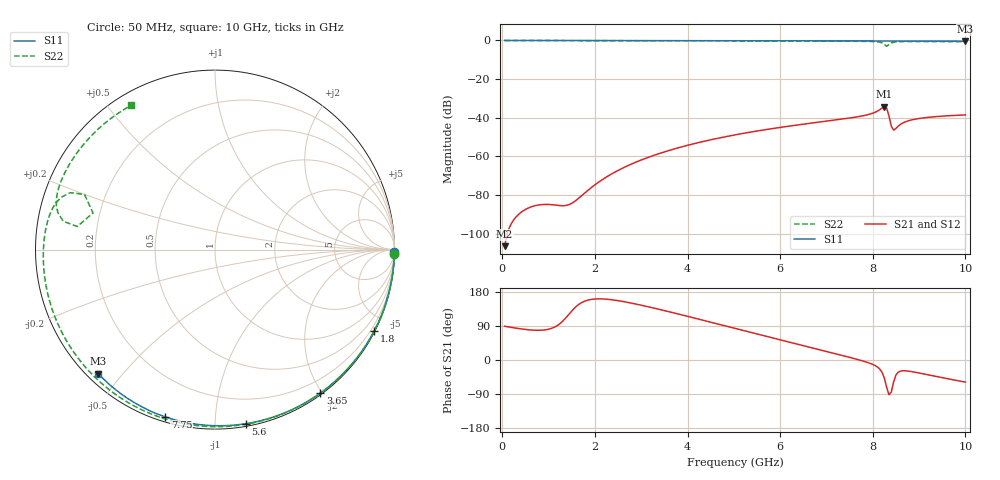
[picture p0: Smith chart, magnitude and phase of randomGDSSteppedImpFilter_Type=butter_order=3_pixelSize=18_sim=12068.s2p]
! freq	dB(S11)	phase(S11)	dB(S12)	phase(S12)
!  dB(S21)	phase(S21)	dB(S22)	phase(S22)
!S-par simulation data
#  GHz  S  DB  R 50
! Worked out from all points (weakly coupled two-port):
!   200 points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, 50 MHz to 10 GHz, reference 50 ohm
!   highest |S21| = -34.26 dB at 8.25 GHz (marker M1); lowest = -106.6 dB at 50 MHz (marker M2)
!   lowest |S11| = -0.5 dB at 10 GHz (marker M3), VSWR 38.08, Z = 1.56 - j21.6 ohm
!   |S11| at or under -10 dB: nowhere
!   |S22| runs from -3.0 to 0.0 dB; largest |S21 - S12| = 0
!   S11 on the Smith chart (normalised r, x): 50 MHz: open; 1.8 GHz: 0.04, -4.15; 3.65 GHz: 0.02, -1.97; 5.6 GHz: 0.02, -1.19; 7.75 GHz: 0.02, -0.75; 10 GHz: 0.03, -0.43
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0.05  -0.00 -0.8  -106.55 89.2  -106.55 89.2  -0.00 -1.4
0.85  -0.02 -12.9  -85.01 78.7  -85.01 78.7  -0.03 -23.0
1.75  -0.03 -26.4  -79.65 153.8  -79.65 153.8  -0.06 -46.8
1.8  -0.03 -27.1  -78.62 156.2  -78.62 156.2  -0.06 -48.0
2.15  -0.04 -32.3  -72.24 161.3  -72.24 161.3  -0.07 -57.0
2.5  -0.05 -37.4  -67.32 156.6  -67.32 156.6  -0.08 -65.7
3.4  -0.07 -50.2  -58.49 133.3  -58.49 133.3  -0.11 -87.4
3.65  -0.07 -53.7  -56.63 125.9  -56.63 125.9  -0.12 -93.3
4.35  -0.09 -63.3  -52.26 104.4  -52.26 104.4  -0.15 -109.2
5.05  -0.11 -72.7  -48.79 82.7  -48.79 82.7  -0.19 -124.7
5.6  -0.13 -79.9  -46.51 65.6  -46.51 65.6  -0.22 -136.7
6.7  -0.18 -93.7  -42.73 31.7  -42.73 31.7  -0.30 -160.7
7.75  -0.24 -106.5  -39.19 -1.3  -39.19 -1.3  -0.43 174.6
8.1  -0.27 -110.7  -36.62 -18.4  -36.62 -18.4  -0.70 163.4
8.25  -0.28 -112.5  -34.26 -47.7  -34.26 -47.7  -2.06 157.1
8.3  -0.29 -113.1  -35.03 -72.4  -35.03 -72.4  -2.98 163.3
8.35  -0.29 -113.7  -39.14 -91.7  -39.14 -91.7  -2.18 170.5
8.4  -0.30 -114.2  -44.37 -84.5  -44.37 -84.5  -1.31 169.4
8.45  -0.30 -114.8  -46.45 -57.8  -46.45 -57.8  -0.92 166.8
8.65  -0.32 -117.2  -42.72 -28.5  -42.72 -28.5  -0.57 158.6
8.9  -0.34 -120.1  -40.83 -31.9  -40.83 -31.9  -0.54 151.1
10  -0.46 -133.2  -38.57 -58.4  -38.57 -58.4  -0.63 120.2
